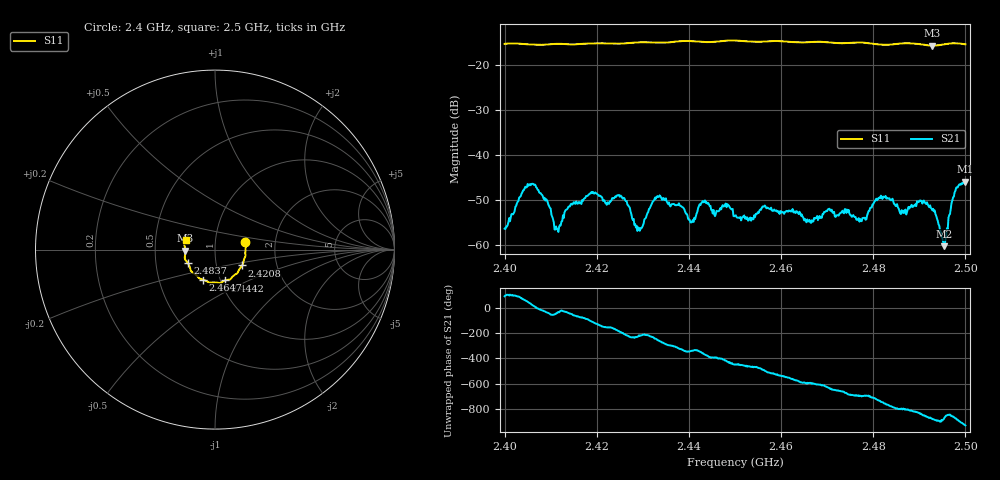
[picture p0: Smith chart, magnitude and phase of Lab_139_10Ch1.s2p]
# Hz S RI R 50
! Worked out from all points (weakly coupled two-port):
!   601 points, 2.4 GHz to 2.5 GHz, reference 50 ohm
!   highest |S21| = -45.86 dB at 2.5 GHz (marker M1); lowest = -60.2 dB at 2.4953 GHz (marker M2)
!   lowest |S11| = -15.6 dB at 2.4928 GHz (marker M3), VSWR 1.40, Z = 35.8 - j0.392 ohm
!   |S11| at or under -10 dB: start of sweep to end of sweep
!   S12 and S22 are empty: the file has one direction only
!   S11 on the Smith chart (normalised r, x): 2.4 GHz: 1.40, +0.12; 2.4208 GHz: 1.33, -0.24; 2.4442 GHz: 1.05, -0.37; 2.4647 GHz: 0.83, -0.29; 2.4837 GHz: 0.73, -0.11; 2.5 GHz: 0.72, +0.08
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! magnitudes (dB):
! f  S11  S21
! 2.4 GHz  -15.2  -56.3
! 2.4055 GHz  -15.4  -46.4
! 2.4092 GHz  -15.4  -49.9
! 2.4113 GHz  -15.2  -56.4
! 2.4167 GHz  -15.2  -50.8
! 2.4208 GHz  -15.1  -49.0
! 2.4257 GHz  -15.2  -49.7
! 2.4293 GHz  -14.9  -56.8
! 2.4333 GHz  -15.0  -49.3
! 2.4405 GHz  -14.6  -54.9
! 2.4442 GHz  -14.9  -50.6
! 2.45 GHz  -14.5  -53.4
! 2.4647 GHz  -14.9  -53.7
! 2.4667 GHz  -14.8  -54.4
! 2.4705 GHz  -14.9  -51.9
! 2.4778 GHz  -15.0  -53.9
! 2.4833 GHz  -15.4  -49.6
! 2.4837 GHz  -15.4  -49.8
! 2.4928 GHz  -15.6  -52.2
! 2.4953 GHz  -15.4  -60.2
! 2.4977 GHz  -15.1  -48.2
! 2.5 GHz  -15.3  -45.9
